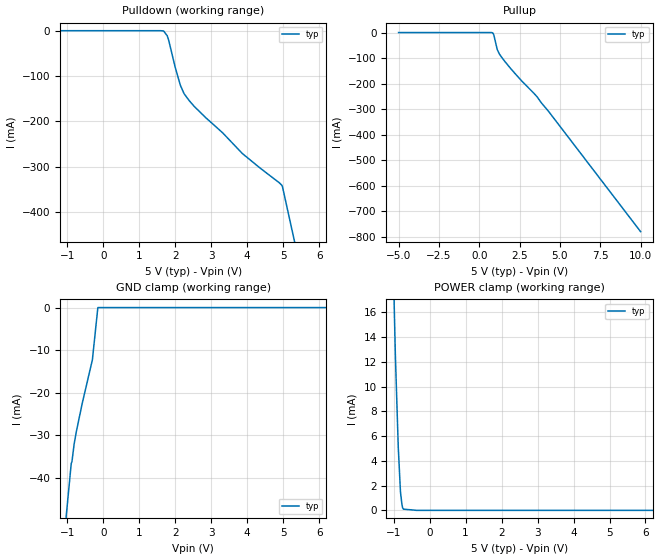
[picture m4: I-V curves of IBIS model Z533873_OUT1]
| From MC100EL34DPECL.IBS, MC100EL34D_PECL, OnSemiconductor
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| (C) COPYRIGHT 1993-2000
| MENTOR GRAPHICS CORPORATION
| ICX STANDARD LIBRARY, ICX PROJECT MODELING,
| ICX CUSTOM MODELING, ICX VENDOR MODEL
| ALL RIGHTS RESERVED.
| THE FOLLOWING ARE TRADEMARKS OR SERVICE MARKS OF
| MENTOR GRAPHICS CORPORATION:ICX (R), ICX STANDARD
| LIBRARY(R), ICX PROJECT MODELING(R), ICX CUSTOM
| MODELING(R), qualityIBIS(TM), MODELVIEWER(TM),
| AND MODELEDITOR(TM)
| ALL COPIES OF SOFTWARE, INCLUDING BUT NOT LIMITED TO
| ANY MODIFICATIONS, ENHANCEMENTS OR DERIVATIVE WORKS,
| MUST CONTAIN ALL MENTOR GRAPHICS CORPORATION'S
| NOTICES AND LEGENDS, INCLUDING THOSE EMBEDDED IN
| SOFTWARE AND THOSE AFFIXED TO SOFTWARE MEDIUM
| AND CONTAINER, AS RECEIVED FROM MENTOR GRAPHICS
| CORPORATION.
| Model Application Version 1.89 2/18/99.
[Model] Z533873_OUT1
Model_type Output_ECL
Vref=2.000V
Rref=50.00ohms
Cref=0.000F
Vmeas=3.680V
C_comp 8.000pF NA NA
| variable typ   min   max
[Voltage Range] 5.000V NA NA
[POWER Clamp Reference] 5.000V NA NA
[Pullup Reference] 5.000V NA NA
[Pulldown Reference] 5.000V NA NA
[GND Clamp Reference] 0.000V NA NA
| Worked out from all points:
|   GND clamp passes 1 mA (typ) near -0.16 V on its own axis
|   POWER clamp passes 1 mA (typ) near -0.79 V on its own axis
[GND Clamp]
-5V       -512.8mA   NA         NA
-1.054V   -71.9mA    NA         NA
-1.033V   -49.2mA    NA         NA
-892mV    -36.7mA    NA         NA
-871mV    -36.2mA    NA         NA
-811mV    -32.1mA    NA         NA
-750mV    -29.2mA    NA         NA
-588mV    -22.6mA    NA         NA
-304mV    -12.3mA    NA         NA
-152mV    0A         NA         NA
10V       0A         NA         NA
[Pulldown]
-5V       0A         NA         NA
1.676V    -800uA     NA         NA
1.777V    -11.2mA    NA         NA
1.818V    -21.3mA    NA         NA
2V        -81.3mA    NA         NA
2.142V    -120.4mA   NA         NA
2.244V    -138.7mA   NA         NA
2.386V    -154mA     NA         NA
3.865V    -270.8mA   NA         NA
4.899V    -335.7mA   NA         NA
4.98V     -343.9mA   NA         NA
10V       -2.151A    NA         NA
[Pullup]
-5V       0A         NA         NA
830mV     -1.5mA     NA         NA
911mV     -11.6mA    NA         NA
1.113V    -66.4mA    NA         NA
1.235V    -82.6mA    NA         NA
1.377V    -95.9mA    NA         NA
2.31V     -167.1mA   NA         NA
3.586V    -251.7mA   NA         NA
10V       -779.3mA   NA         NA
[POWER Clamp]
-5V       1.207A     NA         NA
-1.157V   45.3mA     NA         NA
-1.056V   25.2mA     NA         NA
-954mV    12.6mA     NA         NA
-873mV    5.1mA      NA         NA
-812mV    1.5mA      NA         NA
-772mV    500uA      NA         NA
-752mV    200uA      NA         NA
-731mV    100uA      NA         NA
-365.5mV  0A         NA         NA
10V       0A         NA         NA
[Ramp]
| variable typ min max
dV/dt_r 315.8m/272.4p NA NA
dV/dt_f 315.8m/237.9p NA NA
R_load = 50.00Ohms
